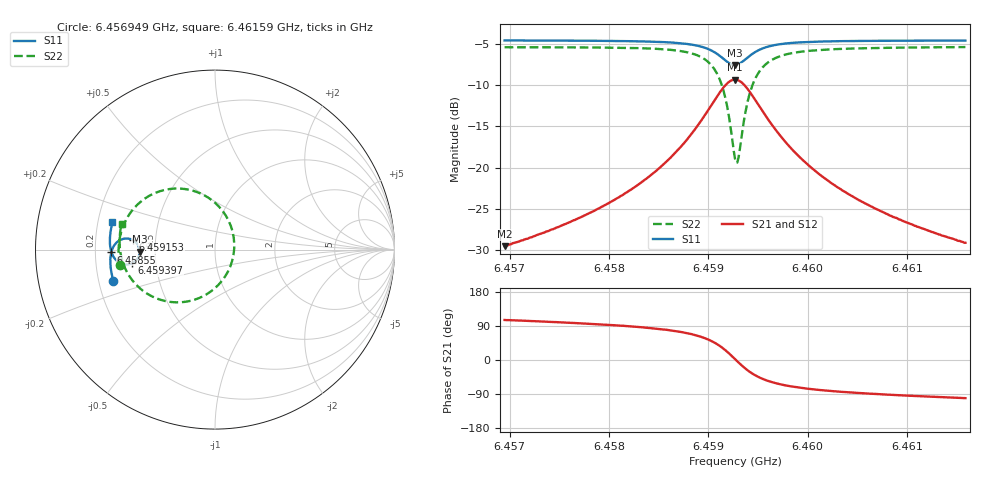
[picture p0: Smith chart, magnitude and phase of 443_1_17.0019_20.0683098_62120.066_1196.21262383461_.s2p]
#  HZ  S  RI  R  50.00
! Rohde & Schwarz Vector Network Analyzer
! Rohde-Schwarz,ZNB20-2Port,1311601062101988,3.16
! Created: UTC 3/20/2024, 11:11:56 PM
! freq[Hz]  re:S11  im:S11  re:S21  im:S21  re:S12  im:S12  re:S22  im:S22
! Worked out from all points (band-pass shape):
!   401 points, 6.456949 GHz to 6.46159 GHz, reference 50 ohm
!   highest |S21| = -9.31 dB at 6.459269 GHz (marker M1); lowest = -29.6 dB at 6.456949 GHz (marker M2)
!   |S21| within 3 dB of the highest: 6.459037 GHz to 6.459501 GHz (464.1 kHz wide, 0.00718 % of centre)
!   lowest |S11| = -7.5 dB at 6.459269 GHz (marker M3), VSWR 2.45, Z = 20.4 - j0.527 ohm
!   |S11| at or under -10 dB: nowhere
!   |S22| runs from -19.4 to -5.4 dB; largest |S21 - S12| = 0.013
!   S11 on the Smith chart (normalised r, x): 6.456949 GHz: 0.26, -0.14; 6.45855 GHz: 0.27, -0.01; 6.459153 GHz: 0.37, +0.05; 6.459397 GHz: 0.37, -0.07; 6.46159 GHz: 0.26, +0.12
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6.4569487e9  -0.566 -0.1742  -0.00895 0.032  -0.00723 0.0321  -0.5313 -0.0872
6.457726e9  -0.5804 -0.1065  -0.00579 0.0499  -0.00328 0.0493  -0.5372 0.00306
6.4581205e9  -0.5834 -0.0675  -0.00067 0.0672  0.00258 0.0659  -0.5306 0.0641
6.4585034e9  -0.5798 -0.0224  0.0136 0.0978  0.0178 0.0952  -0.5045 0.148
6.4585498e9  -0.5785 -0.016  0.0172 0.1033  0.0213 0.1003  -0.4982 0.1613
6.4587587e9  -0.5664 0.0158  0.043 0.1347  0.0471 0.13  -0.4496 0.2324
6.4589095e9  -0.5454 0.042  0.0854 0.1649  0.0887 0.1584  -0.3717 0.2965
6.4590603e9  -0.4994 0.0617  0.1766 0.1838  0.1775 0.1764  -0.2049 0.3403
6.4591531e9  -0.4552 0.0516  0.2658 0.1529  0.266 0.147  -0.0396 0.2908
6.4591996e9  -0.4342 0.033  0.3092 0.1105  0.3103 0.1053  0.0427 0.2152
6.4592692e9  -0.4196 -0.0106  0.3421 0.0145  0.3457 0.00744  0.107 0.0369
6.4592808e9  -0.42 -0.0186  0.342 -0.00333  0.3458 -0.0108  0.1068 0.00359
6.459304e9  -0.4235 -0.034  0.3365 -0.0377  0.3403 -0.0467  0.0959 -0.0618
6.4593504e9  -0.4389 -0.0598  0.3082 -0.0969  0.3103 -0.1088  0.0388 -0.1739
6.4593968e9  -0.4609 -0.0759  0.2665 -0.1378  0.2657 -0.1508  -0.0455 -0.2482
6.4594896e9  -0.5038 -0.0826  0.1826 -0.1686  0.1764 -0.1801  -0.2125 -0.2939
6.4596405e9  -0.5473 -0.0621  0.0955 -0.155  0.087 -0.1611  -0.3787 -0.2449
6.4598029e9  -0.5684 -0.0344  0.051 -0.1275  0.0435 -0.1302  -0.4586 -0.1736
6.4600465e9  -0.5812 0.00114  0.0221 -0.0962  0.0163 -0.0967  -0.5062 -0.0916
6.4603946e9  -0.5856 0.0422  0.00621 -0.0697  0.00219 -0.0693  -0.5274 -0.0128
6.4608239e9  -0.5836 0.0852  -0.00145 -0.0512  -0.00422 -0.0504  -0.5316 0.0552
6.4615897e9  -0.5711 0.1528  -0.00644 -0.0343  -0.00822 -0.0333  -0.52 0.1451
